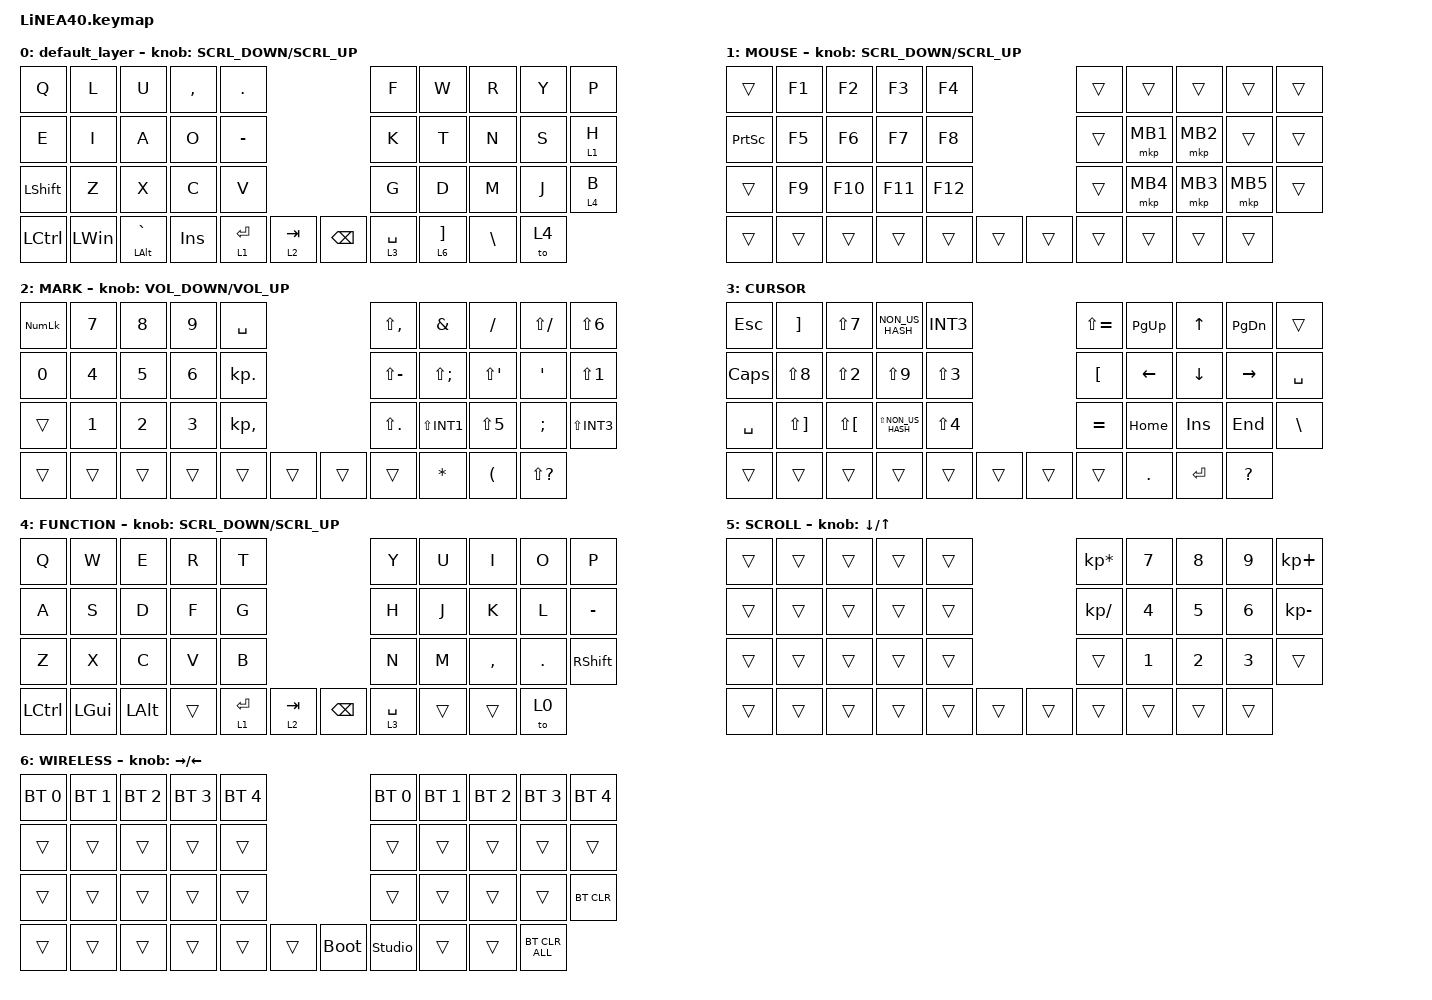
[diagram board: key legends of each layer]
#define ZMK_POINTING_DEFAULT_SCRL_VAL 70

#include <dt-bindings/zmk/input_transform.h>
#include <input/processors.dtsi>
#include <zephyr/dt-bindings/input/input-event-codes.h>
#include <behaviors.dtsi>
#include <dt-bindings/zmk/bt.h>
#include <dt-bindings/zmk/keys.h>
#include <dt-bindings/zmk/pointing.h>

#define MOUSE 1
#define MARK 2
#define CURSOR 3
#define FUNCTION 4
#define SCROLL 5
#define WIRELESS 6

//mouse cursol

&mmv {
    delay-ms = <20>;
    trigger-period-ms = <5>;
    time-to-max-speed-ms = <100>;
    acceleration-exponent = <2>;
};

//mouse scroll

&msc {
    delay-ms = <3>;
    trigger-period-ms = <3>;
    time-to-max-speed-ms = <100>;
    acceleration-exponent = <0>;
};

/ {
    input_processors {
        zip_wheel_scaler: zip_wheel_scaler {
            compatible = "zmk,input-processor-scaler";
            #input-processor-cells = <2>;
            type = <INPUT_EV_REL>;
            codes = <INPUT_REL_WHEEL>;
            track-remainders;
        };
    };
};

&msc_input_listener {
    speed_up {
        layers = <FUNCTION>;
        input-processors = <&zip_wheel_scaler 3 1>; //スクロールを3倍速にする
    };
};

&trackball_listener {
    scroller {
        layers = <SCROLL>;
        input-processors =
            <&zip_xy_transform INPUT_TRANSFORM_Y_INVERT>,
            //スクロール方向を逆転,,,,,,,,,,,,,,,,,,,,,,,,,,,,,,
            <&zip_xy_to_scroll_mapper>;
    };
};

/ {
    combos {
        compatible = "zmk,combos";

        kana {
            bindings = <&kp LANG1>;
            key-positions = <21 22>;
        };

        eisu {
            bindings = <&kp LANG2>;
            key-positions = <27 28>;
        };
    };

    behaviors {
        re_kp: sensor_rotate_kp {
            compatible = "zmk,behavior-sensor-rotate-var";
            #sensor-binding-cells = <2>;
            bindings = <&kp>, <&kp>;
        };

        mouse_scrl: mouse_wheel_scrl {
            compatible = "zmk,behavior-sensor-rotate-var";
            #sensor-binding-cells = <2>;
            bindings = <&msc>, <&msc>;

            tap-ms = <20>;
        };
    };

    keymap {
        compatible = "zmk,keymap";

        default_layer {
            bindings = <
&kp Q           &kp L         &kp U               &kp COMMA  &kp PERIOD                               &kp F        &kp W  &kp R                &kp Y          &kp P
&kp E           &kp I         &kp A               &kp O      &kp MINUS                                &kp K        &kp T  &kp N                &kp S          &lt 1 H
&kp LEFT_SHIFT  &kp Z         &kp X               &kp C      &kp V                                    &kp G        &kp D  &kp M                &kp J          &lt 4 B
&kp LCTRL       &kp LEFT_WIN  &mt LEFT_ALT GRAVE  &kp INS    &lt 1 ENTER  &lt 2 TAB    &kp BACKSPACE  &lt 3 SPACE         &lt 6 RIGHT_BRACKET  &kp BACKSLASH  &to 4
            >;

            sensor-bindings = <&mouse_scrl SCRL_DOWN SCRL_UP>;
        };

        //1

        MOUSE {
            bindings = <
&trans           &kp F1  &kp F2   &kp F3   &kp F4                     &trans  &trans    &trans    &trans    &trans
&kp PRINTSCREEN  &kp F5  &kp F6   &kp F7   &kp F8                     &trans  &mkp MB1  &mkp MB2  &trans    &trans
&trans           &kp F9  &kp F10  &kp F11  &kp F12                    &trans  &mkp MB4  &mkp MB3  &mkp MB5  &trans
&trans           &trans  &trans   &trans   &trans   &trans    &trans  &trans            &trans    &trans    &trans
            >;

            sensor-bindings = <&mouse_scrl SCRL_DOWN SCRL_UP>;
        };

        //2

        MARK {
            bindings = <
&kp KP_NUMLOCK  &kp N7  &kp N8  &kp N9        &kp SPACE                       &kp LS(COMMA)   &kp AMPERSAND      &kp SLASH             &kp LS(SLASH)         &kp LS(NUMBER_6)
&kp N0          &kp N4  &kp N5  &kp N6        &kp KP_DOT                      &kp LS(MINUS)   &kp LS(SEMICOLON)  &kp LS(SINGLE_QUOTE)  &kp SINGLE_QUOTE      &kp LS(NUMBER_1)
&trans          &kp N1  &kp N2  &kp NUMBER_3  &kp KP_COMMA                    &kp LS(PERIOD)  &kp LS(INT1)       &kp LS(N5)            &kp SEMI              &kp LS(INT3)
&trans          &trans  &trans  &trans        &trans        &trans    &trans  &trans                             &kp ASTERISK          &kp LEFT_PARENTHESIS  &kp LS(QUESTION)
            >;

            sensor-bindings = <&re_kp C_VOLUME_DOWN C_VOLUME_UP>;
        };

        //3

        CURSOR {
            bindings = <
&kp ESCAPE  &kp RIGHT_BRACKET      &kp LS(N7)            &kp NON_US_HASH      &kp INT3                            &kp LS(EQUAL)     &kp PAGE_UP  &kp UP      &kp PAGE_DOWN  &trans
&kp CAPS    &kp LS(N8)             &kp LS(NUMBER_2)      &kp LS(N9)           &kp LS(NUMBER_3)                    &kp LEFT_BRACKET  &kp LEFT     &kp DOWN    &kp RIGHT      &kp SPACE
&kp SPACE   &kp LS(RIGHT_BRACKET)  &kp LS(LEFT_BRACKET)  &kp LS(NON_US_HASH)  &kp LS(N4)                          &kp EQUAL         &kp HOME     &kp INSERT  &kp END        &kp BSLH
&trans      &trans                 &trans                &trans               &trans            &trans    &trans  &trans                         &kp DOT     &kp ENTER      &kp QUESTION
            >;
        };

        //4

        FUNCTION {
            bindings = <
&kp Q      &kp W         &kp E         &kp R   &kp T                                    &kp Y        &kp U  &kp I      &kp O       &kp P
&kp A      &kp S         &kp D         &kp F   &kp G                                    &kp H        &kp J  &kp K      &kp L       &kp MINUS
&kp Z      &kp X         &kp C         &kp V   &kp B                                    &kp N        &kp M  &kp COMMA  &kp PERIOD  &kp RIGHT_SHIFT
&kp LCTRL  &kp LEFT_GUI  &kp LEFT_ALT  &trans  &lt 1 ENTER  &lt 2 TAB    &kp BACKSPACE  &lt 3 SPACE         &trans     &trans      &to 0
            >;

            sensor-bindings = <&mouse_scrl SCRL_DOWN SCRL_UP>;
        };

        //5

        SCROLL {
            bindings = <
&trans  &trans  &trans  &trans  &trans                    &kp KP_MULTIPLY  &kp NUMBER_7  &kp NUMBER_8  &kp NUMBER_9  &kp KP_PLUS
&trans  &trans  &trans  &trans  &trans                    &kp KP_SLASH     &kp NUMBER_4  &kp NUMBER_5  &kp NUMBER_6  &kp KP_MINUS
&trans  &trans  &trans  &trans  &trans                    &trans           &kp NUMBER_1  &kp NUMBER_2  &kp NUMBER_3  &trans
&trans  &trans  &trans  &trans  &trans  &trans    &trans  &trans                         &trans        &trans        &trans
            >;

            sensor-bindings = <&inc_dec_kp DOWN_ARROW UP_ARROW>;
        };

        //6

        WIRELESS {
            bindings = <
&bt BT_SEL 0  &bt BT_SEL 1  &bt BT_SEL 2  &bt BT_SEL 3  &bt BT_SEL 4                         &bt BT_SEL 0    &bt BT_SEL 1  &bt BT_SEL 2  &bt BT_SEL 3  &bt BT_SEL 4
&trans        &trans        &trans        &trans        &trans                               &trans          &trans        &trans        &trans        &trans
&trans        &trans        &trans        &trans        &trans                               &trans          &trans        &trans        &trans        &bt BT_CLR
&trans        &trans        &trans        &trans        &trans        &trans    &bootloader  &studio_unlock                &trans        &trans        &bt BT_CLR_ALL
            >;

            sensor-bindings = <&inc_dec_kp RIGHT_ARROW LEFT_ARROW>;
        };
    };
};
